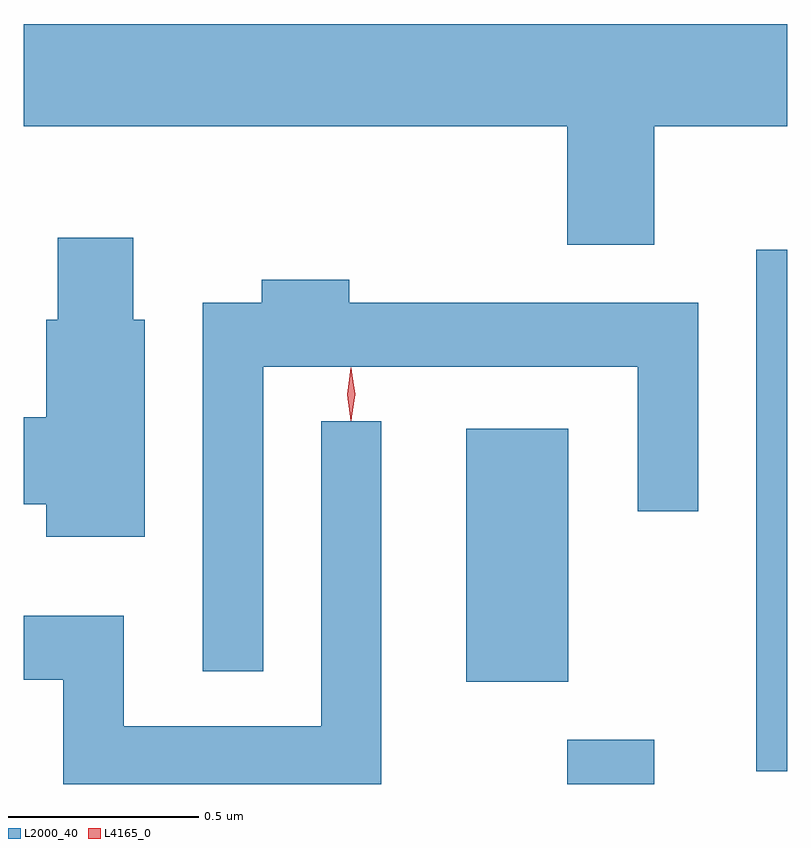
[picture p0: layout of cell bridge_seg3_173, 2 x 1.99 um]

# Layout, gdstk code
import gdstk
lib = gdstk.Library(unit=1e-6, precision=1e-09)
def R(c, l, rs):  # rectangles x0, y0, x1, y1
    for r in rs: c.add(gdstk.rectangle(r[:2], r[2:], *l))
def P(c, l, *ps):  # polygons
    for p in ps: c.add(gdstk.Polygon(p, *l))
L2000_40 = (2000, 40)
L4165_0 = (4165, 0)

bridge_seg3_173 = lib.new_cell('bridge_seg3_173')
R(bridge_seg3_173, L2000_40, [(908.901,1199.773,909.129,1199.889), (909.396,1199.806,909.477,1201.173), (908.636,1200.041,908.904,1200.704)])
P(bridge_seg3_173, L2000_40, [(909.129,1201.496),(909.477,1201.496),(909.477,1201.764),(907.477,1201.764),(907.477,1201.496),(908.901,1201.496),(908.901,1201.186),(909.129,1201.186)],
  [(907.794,1200.989),(907.764,1200.989),(907.764,1201.204),(907.566,1201.204),(907.566,1200.989),(907.536,1200.989),(907.536,1200.734),(907.477,1200.734),(907.477,1200.506),(907.536,1200.506),(907.536,1200.421),(907.794,1200.421)],
  [(908.104,1200.866),(909.086,1200.866),(909.086,1200.488),(909.244,1200.488),(909.244,1201.034),(908.329,1201.034),(908.329,1201.094),(908.101,1201.094),(908.101,1201.034),(907.946,1201.034),(907.946,1200.068),(908.104,1200.068)],
  [(908.414,1200.723),(908.256,1200.723),(908.256,1199.924),(907.739,1199.924),(907.739,1200.214),(907.477,1200.214),(907.477,1200.046),(907.581,1200.046),(907.581,1199.773),(908.414,1199.773)])
P(bridge_seg3_173, L4165_0, [(908.334,1200.724),(908.334,1200.724),(908.324,1200.793),(908.334,1200.863),(908.334,1200.863),(908.335,1200.863),(908.344,1200.793),(908.335,1200.724)],
  [(908.334,1200.727),(908.325,1200.794),(908.334,1200.86),(908.335,1200.861),(908.335,1200.86),(908.345,1200.794),(908.335,1200.727),(908.335,1200.727)])

lib.write_gds('bridge_seg3_173.gds')
